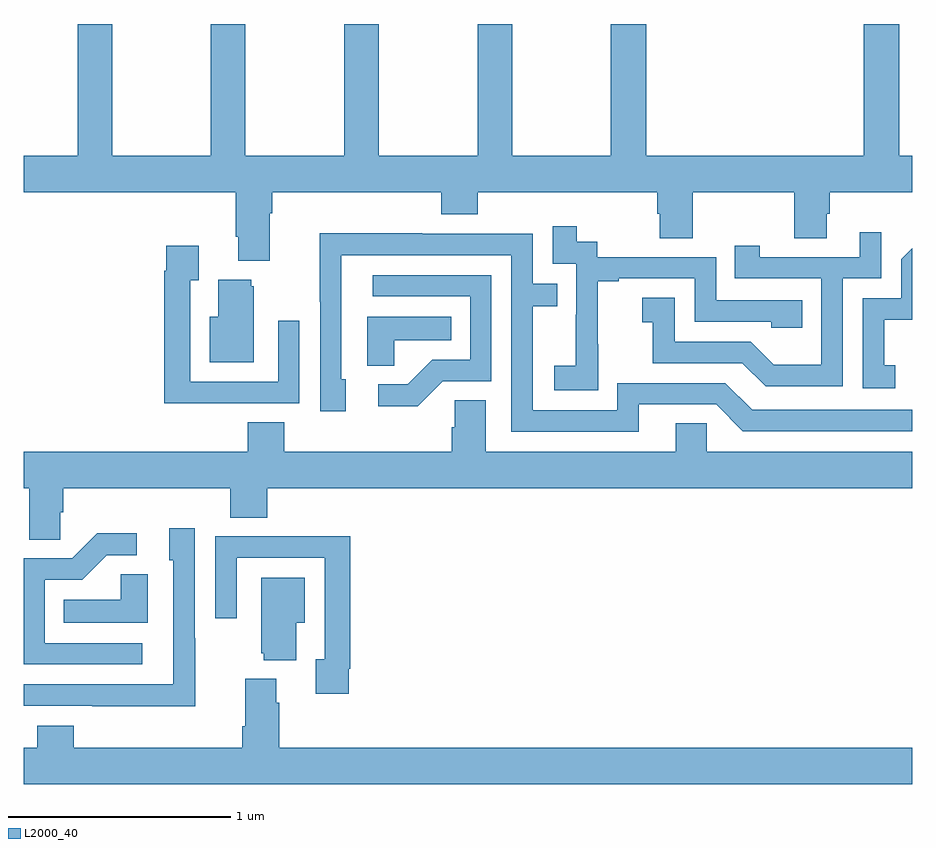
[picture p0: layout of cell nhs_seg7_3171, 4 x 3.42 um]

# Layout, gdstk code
import gdstk
lib = gdstk.Library(unit=1e-6, precision=1e-09)
def P(c, l, *ps):  # polygons
    for p in ps: c.add(gdstk.Polygon(p, *l))
L2000_40 = (2000, 40)

nhs_seg7_3171 = lib.new_cell('nhs_seg7_3171')
P(nhs_seg7_3171, L2000_40, [(315.851,1039.146),(315.863,1039.146),(315.863,1039.036),(316.011,1039.036),(316.011,1039.244),(316.468,1039.244),(316.468,1039.036),(316.615,1039.036),(316.615,1039.146),(316.628,1039.146),(316.628,1039.244),(317,1039.244),(317,1039.408),(316.941,1039.408),(316.941,1040),(316.781,1040),(316.781,1039.408),(315.803,1039.408),(315.803,1040),(315.643,1040),(315.643,1039.408),(315.198,1039.408),(315.198,1040),(315.043,1040),(315.043,1039.408),(314.598,1039.408),(314.598,1040),(314.443,1040),(314.443,1039.408),(313.998,1039.408),(313.998,1040),(313.843,1040),(313.843,1039.408),(313.398,1039.408),(313.398,1040),(313.243,1040),(313.243,1039.408),(313,1039.408),(313,1039.244),(313.955,1039.244),(313.955,1039.042),(313.967,1039.042),(313.967,1038.935),(314.107,1038.935),(314.107,1039.148),(314.12,1039.148),(314.12,1039.244),(314.879,1039.244),(314.879,1039.145),(315.044,1039.145),(315.044,1039.244),(315.851,1039.244)],
  [(315.585,1038.559),(315.584,1038.559),(315.584,1038.843),(315.679,1038.843),(315.679,1038.855),(316.02,1038.855),(316.02,1038.66),(316.365,1038.66),(316.365,1038.633),(316.505,1038.633),(316.505,1038.756),(316.116,1038.756),(316.116,1038.951),(315.582,1038.951),(315.582,1039.02),(315.49,1039.02),(315.49,1039.09),(315.381,1039.09),(315.381,1038.921),(315.486,1038.921),(315.486,1038.692),(315.485,1038.692),(315.485,1038.463),(315.387,1038.463),(315.387,1038.353),(315.585,1038.353)],
  [(316.686,1038.855),(316.86,1038.855),(316.86,1039.063),(316.763,1039.063),(316.763,1038.951),(316.312,1038.951),(316.312,1039.003),(316.201,1039.003),(316.201,1038.855),(316.59,1038.855),(316.59,1038.466),(316.376,1038.466),(316.272,1038.57),(315.93,1038.57),(315.93,1038.769),(315.783,1038.769),(315.783,1038.659),(315.832,1038.659),(315.832,1038.474),(316.235,1038.474),(316.34,1038.369),(316.686,1038.369)],
  [(315.769,1038.288),(316.116,1038.288),(316.236,1038.168),(317,1038.168),(317,1038.264),(316.278,1038.264),(316.158,1038.384),(315.672,1038.384),(315.672,1038.261),(315.291,1038.261),(315.291,1038.73),(315.401,1038.73),(315.401,1038.831),(315.291,1038.831),(315.291,1039.056),(314.795,1039.056),(314.795,1039.058),(314.332,1039.058),(314.332,1038.751),(314.334,1038.751),(314.334,1038.257),(314.449,1038.257),(314.449,1038.402),(314.43,1038.402),(314.43,1038.96),(315.195,1038.96),(315.195,1038.165),(315.769,1038.165)],
  [(313.925,1038.294),(314.241,1038.294),(314.241,1038.664),(314.145,1038.664),(314.145,1038.39),(313.749,1038.39),(313.749,1038.847),(313.789,1038.847),(313.789,1039.003),(313.641,1039.003),(313.641,1038.89),(313.633,1038.89),(313.633,1038.293),(313.925,1038.293)],
  [(316.922,1038.465),(316.873,1038.465),(316.873,1038.669),(317,1038.669),(317,1038.992),(316.95,1038.942),(316.95,1038.765),(316.776,1038.765),(316.776,1038.36),(316.922,1038.36)],
  [(314.886,1038.393),(315.105,1038.393),(315.105,1038.87),(314.571,1038.87),(314.571,1038.774),(315.009,1038.774),(315.009,1038.489),(314.84,1038.489),(314.729,1038.378),(314.595,1038.378),(314.595,1038.281),(314.773,1038.281)],
  [(314.035,1038.819),(314.024,1038.819),(314.024,1038.85),(313.877,1038.85),(313.877,1038.682),(313.838,1038.682),(313.838,1038.479),(314.035,1038.479)],
  [(314.667,1038.578),(314.924,1038.578),(314.924,1038.682),(314.546,1038.682),(314.546,1038.463),(314.667,1038.463)],
  [(313.164,1037.803),(313.178,1037.803),(313.178,1037.912),(313.931,1037.912),(313.931,1037.779),(314.096,1037.779),(314.096,1037.912),(317,1037.912),(317,1038.076),(316.074,1038.076),(316.074,1038.203),(315.935,1038.203),(315.935,1038.076),(315.079,1038.076),(315.079,1038.308),(314.94,1038.308),(314.94,1038.185),(314.927,1038.185),(314.927,1038.076),(314.174,1038.076),(314.174,1038.209),(314.009,1038.209),(314.009,1038.076),(313,1038.076),(313,1037.912),(313.025,1037.912),(313.025,1037.68),(313.164,1037.68)],
  [(313.773,1037.237),(313.77,1037.237),(313.77,1037.731),(313.655,1037.731),(313.655,1037.586),(313.674,1037.586),(313.674,1037.028),(313,1037.028),(313,1036.932),(313.309,1036.932),(313.309,1036.93),(313.773,1036.93)],
  [(313.534,1037.214),(313.095,1037.214),(313.095,1037.499),(313.264,1037.499),(313.375,1037.61),(313.51,1037.61),(313.51,1037.708),(313.331,1037.708),(313.218,1037.595),(313,1037.595),(313,1037.118),(313.534,1037.118)],
  [(314.464,1037.098),(314.471,1037.098),(314.471,1037.696),(314.179,1037.696),(314.179,1037.694),(313.863,1037.694),(313.863,1037.325),(313.959,1037.325),(313.959,1037.598),(314.355,1037.598),(314.355,1037.142),(314.315,1037.142),(314.315,1036.986),(314.464,1036.986)],
  [(313.558,1037.525),(313.437,1037.525),(313.437,1037.41),(313.18,1037.41),(313.18,1037.306),(313.558,1037.306)],
  [(314.227,1037.306),(314.266,1037.306),(314.266,1037.509),(314.069,1037.509),(314.069,1037.169),(314.081,1037.169),(314.081,1037.138),(314.227,1037.138)],
  [(317,1036.744),(314.15,1036.744),(314.15,1036.946),(314.137,1036.946),(314.137,1037.053),(313.997,1037.053),(313.997,1036.84),(313.985,1036.84),(313.985,1036.744),(313.226,1036.744),(313.226,1036.843),(313.061,1036.843),(313.061,1036.744),(313,1036.744),(313,1036.58),(317,1036.58)])

lib.write_gds('nhs_seg7_3171.gds')
